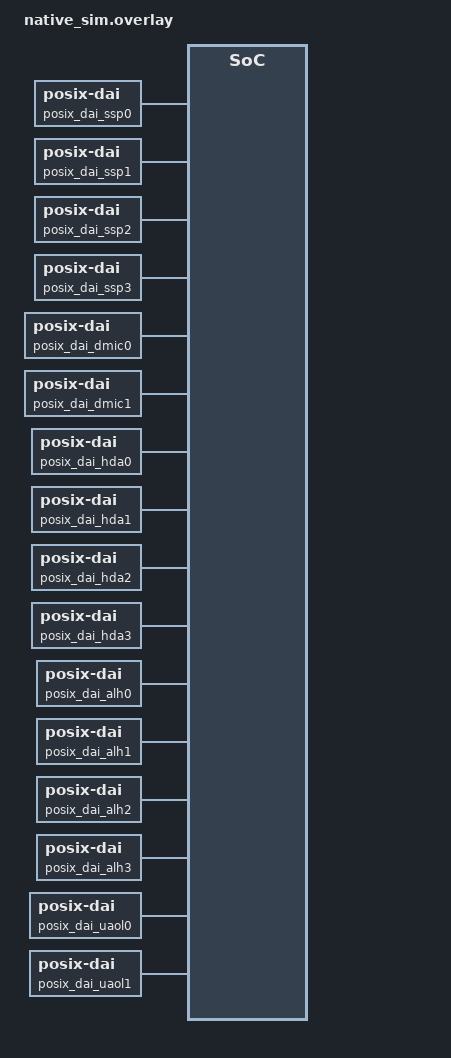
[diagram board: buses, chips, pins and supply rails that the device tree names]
/* SPDX-License-Identifier: BSD-3-Clause
 *
 * Copyright(c) 2026 Intel Corporation. All rights reserved.
 *
 * Virtual DAI instances for the native_sim build.
 *
 * native_sim has no audio hardware. Without any registered DAI device
 * dai_get_device() never matches and every DAI gateway request is rejected
 * before the generic SOF DAI code runs, which hides those paths from the IPC
 * fuzzer. These nodes describe the virtual links handled by
 * src/kernel/platform/posix/dai_virtual.c (enabled with CONFIG_DAI_POSIX).
 *
 * The indices below mirror a plausible Intel platform so that a host request
 * carrying a realistic gateway node id finds a device.
 */

/ {
	posix_dai_ssp0: posix-dai-ssp0 {
		compatible = "zephyr,posix-dai";
		dai-type = "ssp";
		dai-index = <0>;
		status = "okay";
	};

	posix_dai_ssp1: posix-dai-ssp1 {
		compatible = "zephyr,posix-dai";
		dai-type = "ssp";
		dai-index = <1>;
		status = "okay";
	};

	posix_dai_ssp2: posix-dai-ssp2 {
		compatible = "zephyr,posix-dai";
		dai-type = "ssp";
		dai-index = <2>;
		status = "okay";
	};

	posix_dai_ssp3: posix-dai-ssp3 {
		compatible = "zephyr,posix-dai";
		dai-type = "ssp";
		dai-index = <3>;
		status = "okay";
	};

	posix_dai_dmic0: posix-dai-dmic0 {
		compatible = "zephyr,posix-dai";
		dai-type = "dmic";
		dai-index = <0>;
		status = "okay";
	};

	posix_dai_dmic1: posix-dai-dmic1 {
		compatible = "zephyr,posix-dai";
		dai-type = "dmic";
		dai-index = <1>;
		status = "okay";
	};

	posix_dai_hda0: posix-dai-hda0 {
		compatible = "zephyr,posix-dai";
		dai-type = "hda";
		dai-index = <0>;
		status = "okay";
	};

	posix_dai_hda1: posix-dai-hda1 {
		compatible = "zephyr,posix-dai";
		dai-type = "hda";
		dai-index = <1>;
		status = "okay";
	};

	posix_dai_hda2: posix-dai-hda2 {
		compatible = "zephyr,posix-dai";
		dai-type = "hda";
		dai-index = <2>;
		status = "okay";
	};

	posix_dai_hda3: posix-dai-hda3 {
		compatible = "zephyr,posix-dai";
		dai-type = "hda";
		dai-index = <3>;
		status = "okay";
	};

	posix_dai_alh0: posix-dai-alh0 {
		compatible = "zephyr,posix-dai";
		dai-type = "alh";
		dai-index = <0>;
		status = "okay";
	};

	posix_dai_alh1: posix-dai-alh1 {
		compatible = "zephyr,posix-dai";
		dai-type = "alh";
		dai-index = <1>;
		status = "okay";
	};

	posix_dai_alh2: posix-dai-alh2 {
		compatible = "zephyr,posix-dai";
		dai-type = "alh";
		dai-index = <2>;
		status = "okay";
	};

	posix_dai_alh3: posix-dai-alh3 {
		compatible = "zephyr,posix-dai";
		dai-type = "alh";
		dai-index = <3>;
		status = "okay";
	};

	posix_dai_uaol0: posix-dai-uaol0 {
		compatible = "zephyr,posix-dai";
		dai-type = "uaol";
		dai-index = <0>;
		status = "okay";
	};

	posix_dai_uaol1: posix-dai-uaol1 {
		compatible = "zephyr,posix-dai";
		dai-type = "uaol";
		dai-index = <1>;
		status = "okay";
	};
};
